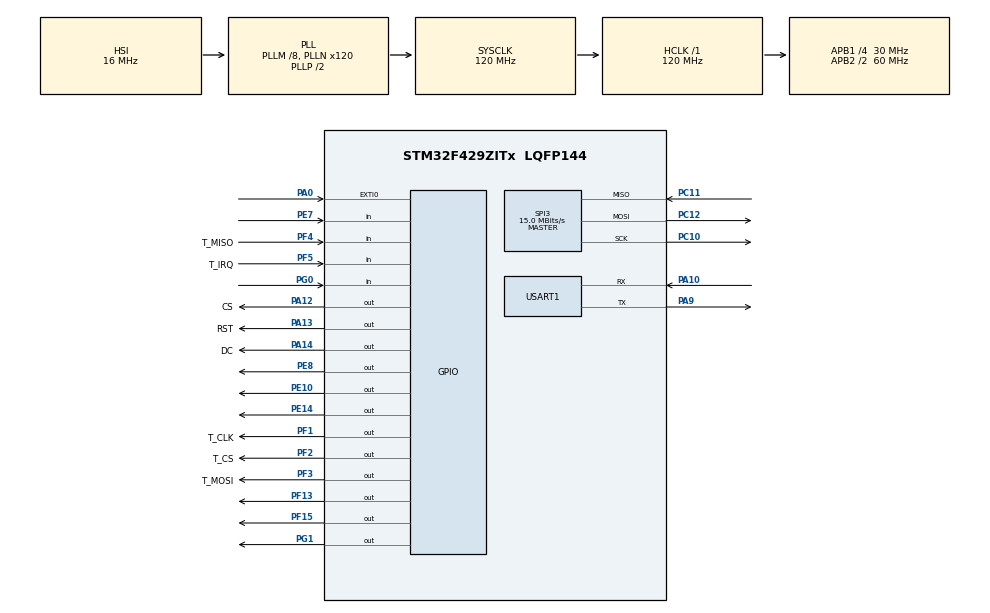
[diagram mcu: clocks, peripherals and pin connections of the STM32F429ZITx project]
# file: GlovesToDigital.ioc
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Mcu.Family=STM32F4
Mcu.Name=STM32F429ZITx
Mcu.Package=LQFP144
NVIC.EXTI0_IRQn=true\:0\:0\:false\:false\:true\:true\:true
NVIC.PriorityGroup=NVIC_PRIORITYGROUP_4
NVIC.TIM1_UP_TIM10_IRQn=true\:1\:0\:true\:false\:true\:true\:true
PA0/WKUP.Signal=GPXTI0
PA10.Mode=Asynchronous
PA10.Signal=USART1_RX
PA12.GPIO_Label=CS
PA12.GPIO_Speed=GPIO_SPEED_FREQ_VERY_HIGH
PA12.Signal=GPIO_Output
PA13.GPIO_Label=RST
PA13.GPIO_Speed=GPIO_SPEED_FREQ_VERY_HIGH
PA13.Signal=GPIO_Output
PA14.GPIO_Label=DC
PA14.GPIO_Speed=GPIO_SPEED_FREQ_VERY_HIGH
PA14.Signal=GPIO_Output
PA15.GPIO_Speed=GPIO_SPEED_FREQ_VERY_HIGH
PA15.Signal=S_TIM2_CH1_ETR
PA9.Mode=Asynchronous
PA9.Signal=USART1_TX
PC10.Mode=Full_Duplex_Master
PC10.Signal=SPI3_SCK
PC11.Mode=Full_Duplex_Master
PC11.Signal=SPI3_MISO
PC12.Mode=Full_Duplex_Master
PC12.Signal=SPI3_MOSI
PE10.Signal=GPIO_Output
PE14.Signal=GPIO_Output
PE7.GPIO_PuPd=GPIO_PULLUP
PE7.Signal=GPIO_Input
PE8.Signal=GPIO_Output
PF1.GPIO_Label=T_CLK
PF1.GPIO_Speed=GPIO_SPEED_FREQ_VERY_HIGH
PF1.Signal=GPIO_Output
PF13.Signal=GPIO_Output
PF15.Signal=GPIO_Output
PF2.GPIO_Label=T_CS
PF2.GPIO_Speed=GPIO_SPEED_FREQ_VERY_HIGH
PF2.Signal=GPIO_Output
PF3.GPIO_Label=T_MOSI
PF3.GPIO_Speed=GPIO_SPEED_FREQ_VERY_HIGH
PF3.Signal=GPIO_Output
PF4.GPIO_Label=T_MISO
PF4.Signal=GPIO_Input
PF5.GPIO_Label=T_IRQ
PF5.Signal=GPIO_Input
PG0.GPIO_PuPd=GPIO_PULLUP
PG0.Signal=GPIO_Input
PG1.Signal=GPIO_Output
ProjectManager.HeapSize=0x200
ProjectManager.StackSize=0x400
ProjectManager.TargetToolchain=STM32CubeIDE
RCC.48MHZClocksFreq_Value=48000000
RCC.AHBFreq_Value=120000000
RCC.APB1CLKDivider=RCC_HCLK_DIV4
RCC.APB1Freq_Value=30000000
RCC.APB1TimFreq_Value=60000000
RCC.APB2CLKDivider=RCC_HCLK_DIV2
RCC.APB2Freq_Value=60000000
RCC.APB2TimFreq_Value=120000000
RCC.CortexFreq_Value=120000000
RCC.HCLKFreq_Value=120000000
RCC.HSE_VALUE=25000000
RCC.HSI_VALUE=16000000
RCC.LSE_VALUE=32768
RCC.PLLM=8
RCC.PLLN=120
RCC.PLLQ=5
RCC.SYSCLKFreq_VALUE=120000000
RCC.SYSCLKSource=RCC_SYSCLKSOURCE_PLLCLK
RCC.VCOOutputFreq_Value=240000000
SH.S_TIM2_CH1_ETR.0=TIM2_CH1
SPI3.BaudRatePrescaler=SPI_BAUDRATEPRESCALER_2
SPI3.CalculateBaudRate=15.0 MBits/s
SPI3.Direction=SPI_DIRECTION_2LINES
SPI3.Mode=SPI_MODE_MASTER
SPI3.VirtualType=VM_MASTER
TIM1.Period=5000-1
TIM1.Prescaler=600-1
TIM1.TIM_MasterOutputTrigger=TIM_TRGO_RESET
USART1.VirtualMode=VM_ASYNC
VP_RNG_VS_RNG.Mode=RNG_Activate
VP_TIM1_VS_ClockSourceINT.Mode=Internal
board=custom

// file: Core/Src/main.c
/* USER CODE BEGIN Header */
/**
  ******************************************************************************
  * @file           : main.c
  * @brief          : Main program body
  ******************************************************************************
  * @attention
  *
  * <h2><center>&copy; Copyright (c) 2021 STMicroelectronics.
  * All rights reserved.</center></h2>
  *
  * This software component is licensed by ST under BSD 3-Clause license,
  * the "License"; You may not use this file except in compliance with the
  * License. You may obtain a copy of the License at:
  *                        opensource.org/licenses/BSD-3-Clause
  *
  ******************************************************************************
  */
/* USER CODE END Header */
#include "main.h"
#include "rng.h"
#include "spi.h"
#include "tim.h"
#include "usart.h"
#include "gpio.h"

/* USER CODE BEGIN Includes */
#include "stdio.h"
#include "ILI9341_Touchscreen.h"

#include "ILI9341_STM32_Driver.h"
#include "ILI9341_GFX.h"

#include "snow_tiger.h"

#define example 0
#define PBL1 0
#define PBL2 1
/* USER CODE END Includes */

/* USER CODE BEGIN PD */
#define LBtn GPIOG, GPIO_PIN_0
#define RBtn GPIOE, GPIO_PIN_7
#define PA0 GPIOA, GPIO_PIN_0

#define EN GPIOF, GPIO_PIN_13
#define LB GPIOF, GPIO_PIN_15
#define RB GPIOG, GPIO_PIN_1
#define F1 GPIOE, GPIO_PIN_8
#define F0 GPIOE, GPIO_PIN_10
/* USER CODE END PD */

/* USER CODE BEGIN PV */

	uint8_t on = 1;
	uint8_t autoc = 0;
	uint8_t count = 1;

	uint32_t lastRB = 0;
	uint32_t longRB = 500;
	uint8_t readR;
	uint8_t RState = 1;
	uint8_t oldRState = 1;
/* USER CODE END PV */

void SystemClock_Config(void);

int main(void)
{

  /* MCU Configuration--------------------------------------------------------*/

  /* Reset of all peripherals, Initializes the Flash interface and the Systick. */
  HAL_Init();

  /* Configure the system clock */
  SystemClock_Config();

  /* Initialize all configured peripherals */
  MX_GPIO_Init();
  MX_SPI3_Init();
  MX_USART1_UART_Init();
  MX_RNG_Init();
  MX_TIM1_Init();
  /* USER CODE BEGIN 2 */
  ILI9341_Init();//initial driver setup to drive ili9341

  ILI9341_Set_Rotation(SCREEN_HORIZONTAL_1);
  ILI9341_Draw_Image((const char*)pbb2, SCREEN_HORIZONTAL_1);
  ILI9341_Draw_Text("Welcome to", 10, 10, RED, 3, WHITE);
  ILI9341_Draw_Text("PBL2; A-3", 10, 40, RED, 3, WHITE);
  ILI9341_Draw_Text("PRESS!", 90, 105, RED, 4, WHITE);
  HAL_Delay(200);
  /* USER CODE END 2 */

  /* Infinite loop */
  while (1)
  {

    /* USER CODE BEGIN 3 */

	  /***************************** DISPLAY LCD ***********************************/
	if(TP_Touchpad_Pressed())
	{
		uint16_t x_pos = 0;
		uint16_t y_pos = 0;

		HAL_GPIO_WritePin(GPIOG, GPIO_PIN_13|GPIO_PIN_14, GPIO_PIN_SET);
		uint16_t position_array[2];
		if(TP_Read_Coordinates(position_array) == TOUCHPAD_DATA_OK)
		{
			x_pos = position_array[1]; // invert y-axis to x-axis
			y_pos = 240 - position_array[0]; // invert vertical
			ILI9341_Draw_Image((const char*)pb2, SCREEN_HORIZONTAL_1);
			ILI9341_Set_Rotation(SCREEN_HORIZONTAL_1);
//			ILI9341_Draw_Text("This is PBL2 for you!", 10, 10, BLACK, 2, WHITE);

			ILI9341_Draw_Rectangle(10, 40, 150, 90, 0x4328); //for GLOVE-ON GREEN 0x4328(hover)
			ILI9341_Draw_Rectangle(160, 40, 150, 90, 0x7185); //for GLOVE-OFF RED 0x7185(hover)
			ILI9341_Draw_Rectangle(10, 145, 93, 85, 0x8427); //for auto-click YELLOW 0x8427(hover)
			ILI9341_Draw_Rectangle(113, 145, 93, 85, ORANGE); //for calibrate ORANGE 0xAC88(hover)
			ILI9341_Draw_Rectangle(216, 145, 94, 85, 0xA533); //for DPI 0xA533[light] 0x6B6D(hover)

			ILI9341_Draw_Text("ON", 65, 70, BLACK, 3, WHITE);
			ILI9341_Draw_Text("OFF", 200, 70, BLACK, 3, WHITE);
			ILI9341_Draw_Text("CALI", 135, 170, BLACK, 2, WHITE);
			ILI9341_Draw_Text("BRATE", 130, 190, BLACK, 2, WHITE);
			ILI9341_Draw_Text("AUTO-", 25, 170, BLACK, 2, WHITE);
			ILI9341_Draw_Text("CLICK", 20, 190, BLACK, 2, WHITE);

			ILI9341_Draw_Filled_Circle(x_pos, y_pos, 2, BLACK);//This is a dot!

			//++++++++++++++++++++FOR XY-COORDINATE HERE++++++++++++++++++++++
			ILI9341_Set_Rotation(SCREEN_HORIZONTAL_1);
			char counter_buff[30];

			sprintf(counter_buff, "POS X:%.3d", x_pos);
			ILI9341_Draw_Text(counter_buff, 20, 10, BLACK, 2, WHITE);

			sprintf(counter_buff, "POS Y:%.3d", y_pos);
			ILI9341_Draw_Text(counter_buff, 150, 10, BLACK, 2, WHITE);
			ILI9341_Set_Rotation(SCREEN_HORIZONTAL_1);
			//++++++++++++++++++++FOR XY-COORDINATE END++++++++++++++++++++++

			ILI9341_Set_Rotation(SCREEN_HORIZONTAL_1);
			char counter[30];
			sprintf(counter, "%d", count);
			ILI9341_Draw_Text(counter, 245, 175, BLACK, 3, WHITE);
			ILI9341_Set_Rotation(SCREEN_HORIZONTAL_1);
		}

		ILI9341_Draw_Pixel(x_pos, y_pos, BLACK);

		//++++++++++++++++++++PLOTTING FOR SELECT-IN+++++++++++++++++++++

		if (x_pos > 10 && x_pos < 160 && y_pos > 40 && y_pos < 130){ on = 1; }
		else if (x_pos > 160 && x_pos < 310 && y_pos > 40 && y_pos < 130){ on = 0; }

		if (on == 1)
		{
			ILI9341_Draw_Rectangle(10, 40, 150, 90, GREEN);
			ILI9341_Draw_Text("ON!", 65, 70, BLACK, 3, WHITE);
		}
		else if (on == 0)
		{
			ILI9341_Draw_Rectangle(160, 40, 150, 90, RED);
			ILI9341_Draw_Text("OFF!", 200, 70, BLACK, 3, WHITE);
		}

		if (x_pos > 10 && x_pos < 103 && y_pos > 145 && y_pos < 230 && on == 1)
		{
//			if (autoc == 1){
//				autoc = 0;
//			}
//			else {
//				autoc = 1;
//			}
			EXTI0_IRQHandler();
		}

		if (autoc == 1)
		{
			ILI9341_Draw_Rectangle(10, 145, 93, 85, YELLOW);
			ILI9341_Draw_Text("AUTO-", 25, 170, BLACK, 2, WHITE);
			ILI9341_Draw_Text("CLICK!", 20, 190, BLACK, 2, WHITE);
		}
		else
		{
			ILI9341_Draw_Rectangle(10, 145, 93, 85, 0x8427);
			ILI9341_Draw_Text("AUTO-", 25, 170, BLACK, 2, WHITE);
			ILI9341_Draw_Text("CLICK", 20, 190, BLACK, 2, WHITE);
		}

		if (x_pos > 113 && x_pos < 206 && y_pos > 145 && y_pos < 230 && on == 1)
		{
			ILI9341_Draw_Rectangle(113, 145, 93, 85, 0xAC88);
			ILI9341_Draw_Text("CALI", 135, 170, BLACK, 2, WHITE);
			ILI9341_Draw_Text("BRATE!", 130, 190, BLACK, 2, WHITE);
			HAL_GPIO_WritePin(F1, 1);
			HAL_GPIO_WritePin(F0, 1);
			HAL_Delay(80);
			ILI9341_Draw_Rectangle(113, 145, 93, 85, ORANGE);
			ILI9341_Draw_Text("CALI", 135, 170, BLACK, 2, WHITE);
			ILI9341_Draw_Text("BRATE", 130, 190, BLACK, 2, WHITE);
			HAL_GPIO_WritePin(F1, 0);
			HAL_GPIO_WritePin(F0, 0);
		}

		if (x_pos > 216 && x_pos < 310 && y_pos > 145 && y_pos < 230 && on == 1)
		{
			ILI9341_Draw_Rectangle(216, 145, 94, 85, 0x6B6D);
			ILI9341_Set_Rotation(SCREEN_HORIZONTAL_1);

			HAL_GPIO_WritePin(F1, 1);
			HAL_GPIO_WritePin(F0, 0);
			HAL_Delay(80);
			HAL_GPIO_WritePin(F1, 0);

			count++;
			if (count > 3){count = 1;}
			char counter[30];
			sprintf(counter, "%d", count);
			ILI9341_Draw_Text(counter, 245, 175, BLACK, 3, WHITE);
			ILI9341_Set_Rotation(SCREEN_HORIZONTAL_1);
			HAL_Delay(80);
			ILI9341_Draw_Rectangle(216, 145, 94, 85, 0xA533);
			ILI9341_Set_Rotation(SCREEN_HORIZONTAL_1);
			sprintf(counter, "%d", count);
			ILI9341_Draw_Text(counter, 245, 175, BLACK, 3, WHITE);
			ILI9341_Set_Rotation(SCREEN_HORIZONTAL_1);
//			ILI9341_Draw_Text("DPI", 245, 170, BLACK, 2, WHITE);
		}

		//++++++++++++++++++++++++CHECK STATUS++++++++++++++++++++++++
//		char counter_buff[30];
//		sprintf(counter_buff, "\r\n%d %d\r\n", on, autoc);
//		HAL_UART_Transmit(&huart1, counter_buff, strlen(counter_buff), 200);
		//++++++++++++++++++++++++++END CHECK++++++++++++++++++++++++
		HAL_Delay(200);
	}
	else
	{
		HAL_GPIO_WritePin(GPIOG, GPIO_PIN_13|GPIO_PIN_14, GPIO_PIN_RESET);
	}
	//------------ ENABLE GLOVES -------------//
	HAL_GPIO_WritePin(EN, on);

	//--------------------------------------------//
	//--------------- Right Button ---------------//
	// READ PIN PULL-UPs
	readR = HAL_GPIO_ReadPin(RBtn);
	// If Hold RB then Use FN Scroll
	if(readR != oldRState){
		lastRB = HAL_GetTick();
	}
	if((HAL_GetTick() - lastRB) > longRB){
		if(readR != RState){
			RState = readR;

			if(RState == 0){
				HAL_GPIO_WritePin(F0, !RState);
			}
		}
	}
	HAL_GPIO_WritePin(F0, !RState);
	oldRState = readR;

	// NORMAL RIGHT CLICK
	if(HAL_GPIO_ReadPin(RBtn) == 0){
		HAL_GPIO_WritePin(RB, 1);
	}
	else HAL_GPIO_WritePin(RB, 0);

	//---------------------------------------//

	//------------- Left Button -------------//
	if(HAL_GPIO_ReadPin(LBtn) == 0){         // INPUT PULL-UP
		HAL_GPIO_WritePin(LB, 1);            // LEFT CLICK
	}
	else HAL_GPIO_WritePin(LB, 0);
	//---------------------------------------//

  }
  /* USER CODE END 3 */
}

void SystemClock_Config(void)
{
  RCC_OscInitTypeDef RCC_OscInitStruct = {0};
  RCC_ClkInitTypeDef RCC_ClkInitStruct = {0};

  /** Configure the main internal regulator output voltage
  */
  __HAL_RCC_PWR_CLK_ENABLE();
  __HAL_PWR_VOLTAGESCALING_CONFIG(PWR_REGULATOR_VOLTAGE_SCALE3);
  /** Initializes the RCC Oscillators according to the specified parameters
  * in the RCC_OscInitTypeDef structure.
  */
  RCC_OscInitStruct.OscillatorType = RCC_OSCILLATORTYPE_HSI;
  RCC_OscInitStruct.HSIState = RCC_HSI_ON;
  RCC_OscInitStruct.HSICalibrationValue = RCC_HSICALIBRATION_DEFAULT;
  RCC_OscInitStruct.PLL.PLLState = RCC_PLL_ON;
  RCC_OscInitStruct.PLL.PLLSource = RCC_PLLSOURCE_HSI;
  RCC_OscInitStruct.PLL.PLLM = 8;
  RCC_OscInitStruct.PLL.PLLN = 120;
  RCC_OscInitStruct.PLL.PLLP = RCC_PLLP_DIV2;
  RCC_OscInitStruct.PLL.PLLQ = 5;
  if (HAL_RCC_OscConfig(&RCC_OscInitStruct) != HAL_OK)
  {
    Error_Handler();
  }
  /** Initializes the CPU, AHB and APB buses clocks
  */
  RCC_ClkInitStruct.ClockType = RCC_CLOCKTYPE_HCLK|RCC_CLOCKTYPE_SYSCLK
                              |RCC_CLOCKTYPE_PCLK1|RCC_CLOCKTYPE_PCLK2;
  RCC_ClkInitStruct.SYSCLKSource = RCC_SYSCLKSOURCE_PLLCLK;
  RCC_ClkInitStruct.AHBCLKDivider = RCC_SYSCLK_DIV1;
  RCC_ClkInitStruct.APB1CLKDivider = RCC_HCLK_DIV4;
  RCC_ClkInitStruct.APB2CLKDivider = RCC_HCLK_DIV2;

  if (HAL_RCC_ClockConfig(&RCC_ClkInitStruct, FLASH_LATENCY_3) != HAL_OK)
  {
    Error_Handler();
  }
}

void Error_Handler(void)
{
  __disable_irq();
  while (1)
  {
  }
}

/************************ (C) COPYRIGHT STMicroelectronics *****END OF FILE****/
